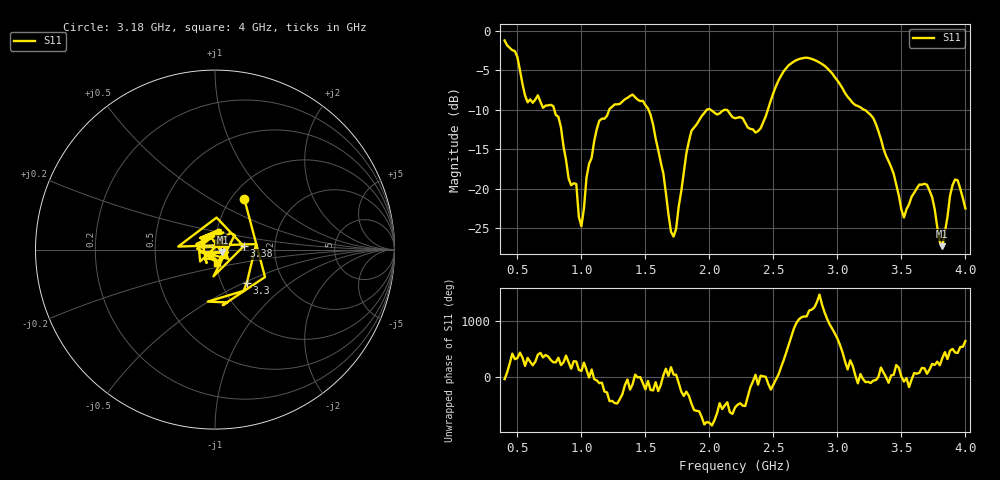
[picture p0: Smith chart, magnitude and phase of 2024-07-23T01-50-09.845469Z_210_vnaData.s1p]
!Created with skrf (http://scikit-rf.org).
# Hz S RI R 50.0
!freq ReS11 ImS11
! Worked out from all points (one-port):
!   181 points, 400 MHz to 4 GHz, reference 50 ohm
!   lowest |S11| = -27.3 dB at 3.82 GHz (marker M1), VSWR 1.09, Z = 54.3 - j1.43 ohm
!   |S11| at or under -10 dB: 1.524 GHz to 1.98 GHz (456.3 MHz wide, 26 % of centre); 2.007 GHz to 2.457 GHz (449.9 MHz wide, 20.2 % of centre); 3.206 GHz to end of sweep (the widest 3 of 4)
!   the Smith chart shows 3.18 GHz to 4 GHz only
!   S11 on the Smith chart (normalised r, x): 3.18 GHz: 1.14, +0.73; 3.3 GHz: 1.31, -0.52; 3.38 GHz: 1.38, +0.05; 4 GHz: 1.02, -0.15
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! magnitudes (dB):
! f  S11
! 400 MHz  -1.2
! 500 MHz  -3.4
! 580 MHz  -9.1
! 780 MHz  -9.6
! 860 MHz  -14.6
! 960 MHz  -19.4
! 1 GHz  -24.8
! 1.04 GHz  -18.6
! 1.14 GHz  -11.4
! 1.3 GHz  -9.3
! 1.52 GHz  -9.8
! 1.64 GHz  -18.1
! 1.7 GHz  -25.5
! 1.76 GHz  -22.3
! 1.86 GHz  -12.7
! 2.2 GHz  -11.1
! 2.38 GHz  -12.7
! 2.66 GHz  -3.9
! 3.1 GHz  -8.8
! 3.18 GHz  -9.7
! 3.3 GHz  -11.8
! 3.38 GHz  -15.8
! 3.52 GHz  -23.7
! 3.56 GHz  -22.0
! 3.7 GHz  -19.5
! 3.82 GHz  -27.3
! 3.92 GHz  -18.8
! 4 GHz  -22.5
